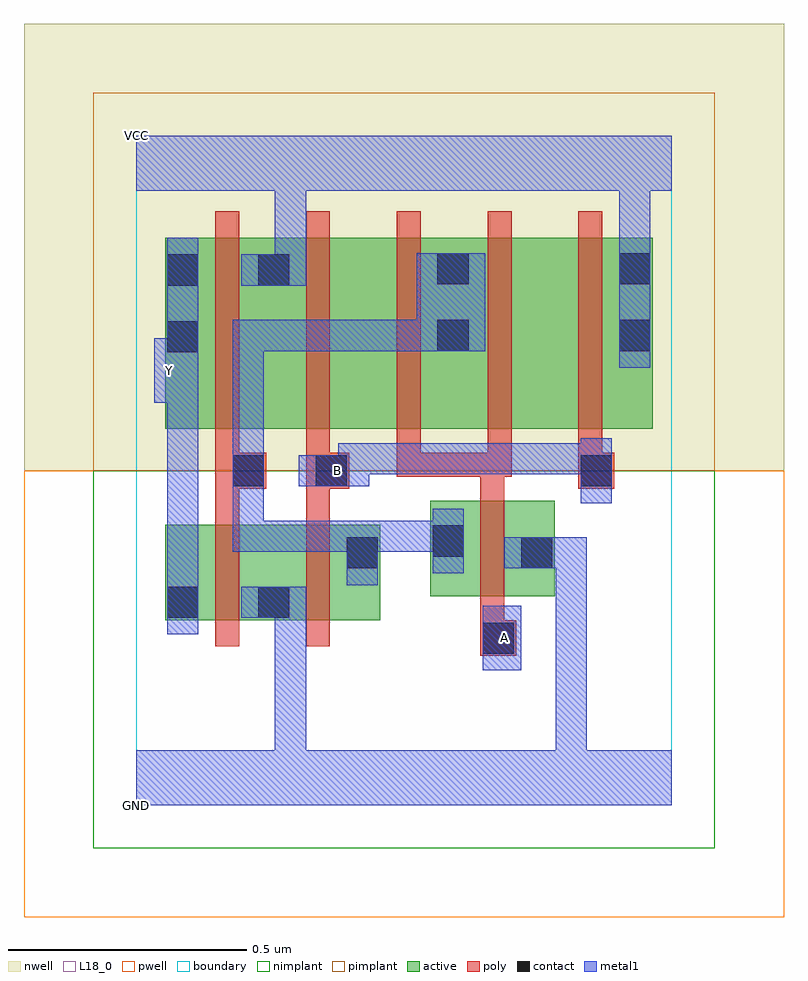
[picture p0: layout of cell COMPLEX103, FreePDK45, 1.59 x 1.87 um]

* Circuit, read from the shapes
.subckt COMPLEX103 A B GND VCC Y
M1 GND n1 Y VSUBS nfet w=0.2u l=0.05u
M2 n1 B GND VSUBS nfet w=0.2u l=0.05u
M3 GND A n1 VSUBS nfet w=0.2u l=0.05u
M4 VCC n1 Y n2 pfet w=0.4u l=0.05u
M5 n3 B VCC n2 pfet w=0.4u l=0.05u
M6 n1 A n3 n2 pfet w=0.4u l=0.05u
M7 n4 A n1 n2 pfet w=0.4u l=0.05u
M8 VCC B n4 n2 pfet w=0.4u l=0.05u
.ends

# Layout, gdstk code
import gdstk
lib = gdstk.Library(unit=1e-6, precision=1e-09)
def R(c, l, rs):  # rectangles x0, y0, x1, y1
    for r in rs: c.add(gdstk.rectangle(r[:2], r[2:], *l))
def A(c, l, x, y, w, h, nx, ny, dx, dy):  # array of equal rectangles
    R(c, l, [(x+i*dx, y+j*dy, x+i*dx+w, y+j*dy+h) for i in range(nx) for j in range(ny)])
active = (1, 0)
pwell = (2, 0)
nwell = (3, 0)
nimplant = (4, 0)
pimplant = (5, 0)
poly = (9, 0)
contact = (10, 0)
metal1 = (11, 0)
L18_0 = (18, 0)
boundary = (235, 0)

complex103 = lib.new_cell('COMPLEX103')
R(complex103, active, [(0.06,0.387,0.325,0.587), (0.06,0.387,0.135,0.587), (0.25,0.387,0.51,0.587), (0.25,0.387,0.325,0.462), (0.615,0.437,0.875,0.637), (0.435,0.445,0.51,0.587), (0.615,0.445,0.69,0.637), (0.8,0.445,0.875,0.637), (0.06,0.787,0.325,1.187), (0.06,0.787,0.135,1.157), (0.25,0.787,0.475,1.187), (0.475,0.787,0.7,1.187), (0.625,0.787,0.855,1.187), (0.855,0.787,1.08,1.187), (1.005,0.787,1.08,1.16), (0.25,0.907,0.325,1.157), (0.625,0.907,0.7,1.16)])
R(complex103, pwell, [(-0.235,-0.235,1.355,0.7)])
R(complex103, nwell, [(-0.235,0.7,1.355,1.635)])
R(complex103, nimplant, [(-0.09,-0.09,1.21,0.7)])
R(complex103, pimplant, [(-0.09,0.7,1.21,1.49)])
A(complex103, poly, 0.165, 0.687, 0.05, 0.095, 5, 1, 0.19, 0)
A(complex103, poly, 0.165, 0.732, 0.05, 0.51, 5, 1, 0.19, 0)
R(complex103, poly, [(0.72,0.312,0.795,0.387), (0.165,0.332,0.215,0.642), (0.355,0.332,0.405,0.642), (0.72,0.337,0.77,0.432), (0.72,0.382,0.77,0.692), (0.165,0.592,0.215,0.712), (0.355,0.592,0.405,0.712), (0.72,0.642,0.77,0.737), (0.165,0.662,0.272,0.737), (0.355,0.662,0.445,0.737), (0.925,0.662,1,0.737), (0.545,0.687,0.595,0.737), (0.545,0.687,0.77,0.737), (0.72,0.687,0.77,0.737), (0.72,0.687,0.77,0.737), (0.72,0.687,0.785,0.737)])
R(complex103, contact, [(0.725,0.317,0.79,0.382), (0.065,0.392,0.13,0.457), (0.255,0.392,0.32,0.457), (0.44,0.495,0.505,0.56), (0.805,0.495,0.87,0.56), (0.62,0.52,0.685,0.585), (0.202,0.667,0.267,0.732), (0.375,0.667,0.44,0.732), (0.93,0.667,0.995,0.732), (0.065,0.947,0.13,1.012), (0.63,0.95,0.695,1.015), (1.01,0.95,1.075,1.015), (0.065,1.087,0.13,1.152), (0.255,1.087,0.32,1.152), (0.63,1.09,0.695,1.155), (1.01,1.09,1.075,1.155)])
R(complex103, metal1, [(0,0,1.12,0.115), (0.29,0.05,0.355,0.457), (0.877,0.05,0.942,0.115), (0.877,0.05,0.942,0.115), (0.877,0.05,0.942,0.115), (0.877,0.05,0.942,0.115), (0.877,0.05,0.942,0.115), (0.877,0.05,0.942,0.115), (0.877,0.05,0.942,0.56), (0.725,0.282,0.805,0.417), (0.065,0.357,0.13,0.492), (0.22,0.392,0.355,0.457), (0.29,0.392,0.355,0.457), (0.29,0.392,0.355,0.457), (0.29,0.392,0.355,0.457), (0.29,0.392,0.355,0.457), (0.29,0.392,0.355,0.457), (0.29,0.392,0.355,0.457), (0.065,0.427,0.13,0.907), (0.44,0.46,0.505,0.595), (0.62,0.485,0.685,0.62), (0.77,0.495,0.942,0.56), (0.202,0.53,0.267,0.595), (0.202,0.53,0.505,0.595), (0.202,0.53,0.267,0.767), (0.44,0.53,0.505,0.595), (0.44,0.53,0.505,0.595), (0.44,0.53,0.642,0.595), (0.577,0.53,0.642,0.595), (0.577,0.53,0.685,0.595), (0.202,0.632,0.267,0.767), (0.93,0.632,0.995,0.767), (0.34,0.667,0.487,0.732), (0.422,0.667,0.487,0.732), (0.422,0.667,0.487,0.757), (0.422,0.692,0.652,0.757), (0.587,0.692,0.652,0.757), (0.587,0.692,0.652,0.757), (0.587,0.692,0.652,0.757), (0.587,0.692,0.857,0.757), (0.792,0.692,0.995,0.757), (0.792,0.692,0.857,0.757), (0.792,0.692,0.857,0.757), (0.792,0.692,0.857,0.757), (0.202,0.702,0.267,0.767), (0.202,0.702,0.267,0.767), (0.202,0.702,0.267,1.015), (0.037,0.842,0.13,0.977), (0.065,0.912,0.13,1.187), (0.065,0.912,0.13,0.977), (1.01,0.915,1.075,1.19), (0.202,0.95,0.267,1.015), (0.202,0.95,0.505,1.015), (0.44,0.95,0.505,1.015), (0.44,0.95,0.505,1.015), (0.44,0.95,0.505,1.015), (0.44,0.95,0.652,1.015), (0.587,0.95,0.652,1.015), (0.587,0.95,0.652,1.015), (0.587,0.95,0.73,1.155), (0.22,1.087,0.355,1.152), (0.29,1.087,0.355,1.35), (1.01,1.125,1.075,1.35), (0,1.285,1.12,1.4)])
R(complex103, L18_0, [(0,0,1.12,0.115), (0.29,0.05,0.355,0.457), (0.877,0.05,0.942,0.115), (0.877,0.05,0.942,0.115), (0.877,0.05,0.942,0.115), (0.877,0.05,0.942,0.115), (0.877,0.05,0.942,0.115), (0.877,0.05,0.942,0.115), (0.877,0.05,0.942,0.56), (0.725,0.282,0.805,0.417), (0.737,0.317,0.802,0.382), (0.065,0.357,0.13,0.492), (0.22,0.392,0.355,0.457), (0.29,0.392,0.355,0.457), (0.29,0.392,0.355,0.457), (0.29,0.392,0.355,0.457), (0.29,0.392,0.355,0.457), (0.29,0.392,0.355,0.457), (0.29,0.392,0.355,0.457), (0.065,0.427,0.13,0.907), (0.77,0.495,0.942,0.56), (0.93,0.632,0.995,0.767), (0.34,0.667,0.487,0.732), (0.387,0.667,0.452,0.732), (0.422,0.667,0.487,0.732), (0.422,0.667,0.487,0.757), (0.422,0.692,0.652,0.757), (0.587,0.692,0.652,0.757), (0.587,0.692,0.652,0.757), (0.587,0.692,0.652,0.757), (0.587,0.692,0.857,0.757), (0.792,0.692,0.857,0.757), (0.792,0.692,0.857,0.757), (0.792,0.692,0.857,0.757), (0.792,0.692,0.995,0.757), (0.037,0.842,0.13,0.977), (0.037,0.877,0.102,0.942), (0.065,0.912,0.13,1.187), (0.065,0.912,0.13,0.977), (1.01,0.915,1.075,1.19), (0.22,1.087,0.355,1.152), (0.29,1.087,0.355,1.35), (1.01,1.125,1.075,1.35), (0,1.285,1.12,1.4)])
R(complex103, boundary, [(0,0,1.12,1.4)])
complex103.add(gdstk.Label('A', (0.77,0.35), layer=11, texttype=0))
complex103.add(gdstk.Label('B', (0.42,0.7), layer=11, texttype=0))
complex103.add(gdstk.Label('Y', (0.07,0.91), layer=11, texttype=0))
complex103.add(gdstk.Label('VCC', (0,1.4), layer=11, texttype=0))
complex103.add(gdstk.Label('GND', (0,0), layer=11, texttype=0))

lib.write_gds('COMPLEX103.gds')
